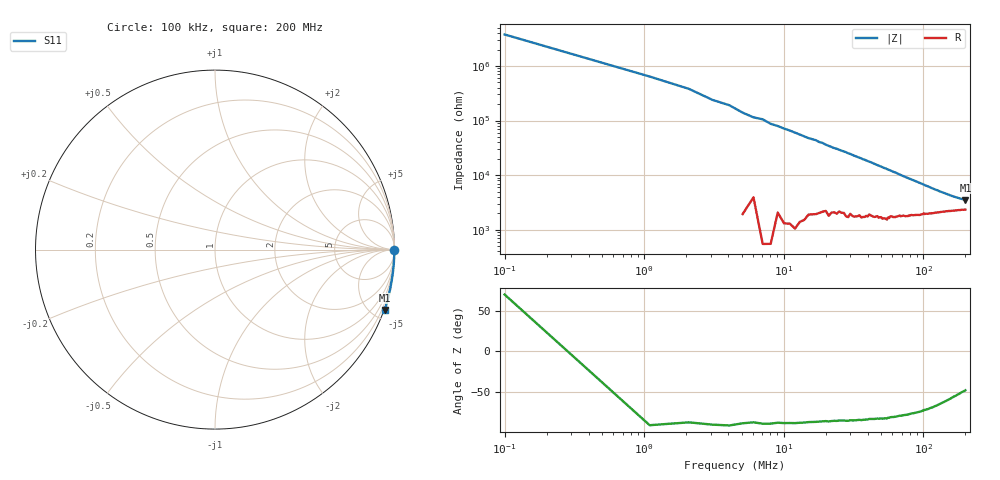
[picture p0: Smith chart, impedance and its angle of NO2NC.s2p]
# HZ S RI R 50
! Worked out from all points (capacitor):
!   202 points, 100 kHz to 200 MHz, reference 50 ohm
!   read as one part in series: C = 216 fF near 1.095 MHz
!   lowest |Z| = 3.52 kohm at 200 MHz (marker M1)
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100000  0.9992 -0.000643  9.1e-06 -2.49e-05  0 0  0 0
1094527  0.9994 -0.00379  -4.32e-06 0.000156  0 0  0 0
2089054  0.9997 -0.00496  8.98e-06 0.000262  0 0  0 0
3083581  0.9995 -0.00616  -6.3e-06 0.000418  0 0  0 0
4078108  0.9992 -0.00751  -1.71e-05 0.000525  0 0  0 0
5072635  0.9991 -0.00843  1.05e-05 0.000717  0 0  0 0
6067162  0.9994 -0.00974  3.07e-05 0.000873  0 0  0 0
7061689  1.001 -0.0115  5.85e-06 0.00095  0 0  0 0
8056216  0.9997 -0.0135  8.58e-06 0.00115  0 0  0 0
1.302885e7  0.9986 -0.0217  4.86e-05 0.00181  0 0  0 0
1.50179e7  0.9988 -0.0251  8.72e-05 0.0021  0 0  0 0
1.700696e7  0.9987 -0.0282  0.000107 0.0023  0 0  0 0
1.800149e7  0.998 -0.0299  0.000132 0.00248  0 0  0 0
2.297412e7  0.9982 -0.0379  0.000224 0.00319  0 0  0 0
3.391392e7  0.9978 -0.0555  0.000411 0.00466  0 0  0 0
4.883182e7  0.9955 -0.0797  0.000844 0.0068  0 0  0 0
6.673331e7  0.9928 -0.1095  0.00173 0.00941  0 0  0 0
8.264574e7  0.9902 -0.1357  0.00287 0.0118  0 0  0 0
1.005472e8  0.986 -0.1651  0.00459 0.0141  0 0  0 0
1.333666e8  0.9754 -0.2219  0.0089 0.0179  0 0  0 0
1.671805e8  0.9618 -0.28  0.0143 0.0201  0 0  0 0
1.999999e8  0.9452 -0.3366  0.019 0.0205  0 0  0 0
